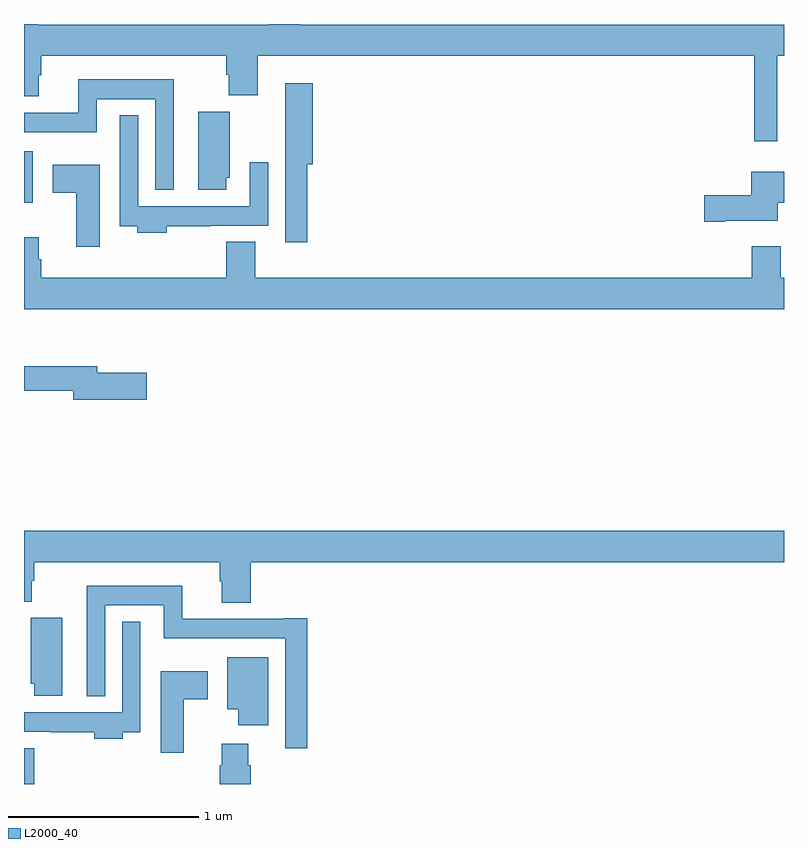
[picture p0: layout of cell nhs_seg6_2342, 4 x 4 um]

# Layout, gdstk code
import gdstk
lib = gdstk.Library(unit=1e-6, precision=1e-09)
def R(c, l, rs):  # rectangles x0, y0, x1, y1
    for r in rs: c.add(gdstk.rectangle(r[:2], r[2:], *l))
def P(c, l, *ps):  # polygons
    for p in ps: c.add(gdstk.Polygon(p, *l))
L2000_40 = (2000, 40)

nhs_seg6_2342 = lib.new_cell('nhs_seg6_2342')
R(nhs_seg6_2342, L2000_40, [(251,947.5,251.054,947.689), (251,950.558,251.047,950.83)])
P(nhs_seg6_2342, L2000_40, [(254.965,951.332),(255,951.332),(255,951.496),(252.452,951.496),(252.452,951.5),(252.287,951.5),(252.287,951.496),(251.076,951.496),(251.076,951.5),(251,951.5),(251,951.119),(251.077,951.119),(251.077,951.231),(251.09,951.231),(251.09,951.332),(252.065,951.332),(252.065,951.233),(252.077,951.233),(252.077,951.124),(252.23,951.124),(252.23,951.332),(254.844,951.332),(254.844,950.883),(254.965,950.883)],
  [(251.788,951.208),(251.285,951.208),(251.285,951.034),(251,951.034),(251,950.93),(251.382,950.93),(251.382,951.104),(251.691,951.104),(251.691,950.627),(251.788,950.627)],
  [(252.491,950.762),(252.521,950.762),(252.521,951.187),(252.374,951.187),(252.374,950.866),(252.375,950.866),(252.375,950.352),(252.491,950.352)],
  [(252.064,950.691),(252.082,950.691),(252.082,951.039),(251.918,951.039),(251.918,950.628),(252.064,950.628)],
  [(251.75,950.436),(251.981,950.436),(251.981,950.438),(252.285,950.438),(252.285,950.773),(252.189,950.773),(252.189,950.542),(251.601,950.542),(251.601,951.019),(251.505,951.019),(251.505,950.436),(251.597,950.436),(251.597,950.402),(251.75,950.402)],
  [(251.398,950.758),(251.151,950.758),(251.151,950.611),(251.276,950.611),(251.276,950.328),(251.398,950.328)],
  [(254.692,950.465),(254.968,950.465),(254.968,950.558),(255,950.558),(255,950.722),(254.828,950.722),(254.828,950.6),(254.58,950.6),(254.58,950.458),(254.692,950.458)],
  [(255,950.164),(254.983,950.164),(254.983,950.329),(254.831,950.329),(254.831,950.164),(252.217,950.164),(252.217,950.353),(252.065,950.353),(252.065,950.164),(251.09,950.164),(251.09,950.262),(251.077,950.262),(251.077,950.377),(251,950.377),(251,950),(255,950)],
  [(251.647,949.665),(251.386,949.665),(251.386,949.699),(251,949.699),(251,949.57),(251.258,949.57),(251.258,949.523),(251.647,949.523)],
  [(252.194,948.668),(255,948.668),(255,948.832),(251,948.832),(251,948.46),(251.041,948.46),(251.041,948.569),(251.054,948.569),(251.054,948.668),(252.029,948.668),(252.029,948.567),(252.041,948.567),(252.041,948.455),(252.194,948.455)],
  [(252.491,948.373),(252.368,948.373),(252.368,948.37),(251.834,948.37),(251.834,948.544),(251.33,948.544),(251.33,947.963),(251.427,947.963),(251.427,948.44),(251.736,948.44),(251.736,948.266),(252.375,948.266),(252.375,947.688),(252.491,947.688)],
  [(251.2,948.375),(251.036,948.375),(251.036,948.027),(251.054,948.027),(251.054,947.964),(251.2,947.964)],
  [(251.521,947.772),(251.613,947.772),(251.613,948.355),(251.517,948.355),(251.517,947.878),(251,947.878),(251,947.774),(251.137,947.774),(251.137,947.772),(251.369,947.772),(251.369,947.738),(251.521,947.738)],
  [(252.286,948.166),(252.071,948.166),(252.071,947.894),(252.128,947.894),(252.128,947.808),(252.286,947.808)],
  [(251.842,947.947),(251.968,947.947),(251.968,948.094),(251.72,948.094),(251.72,947.664),(251.842,947.664)],
  [(252.194,947.598),(252.181,947.598),(252.181,947.713),(252.041,947.713),(252.041,947.598),(252.029,947.598),(252.029,947.5),(252.194,947.5)])

lib.write_gds('nhs_seg6_2342.gds')
